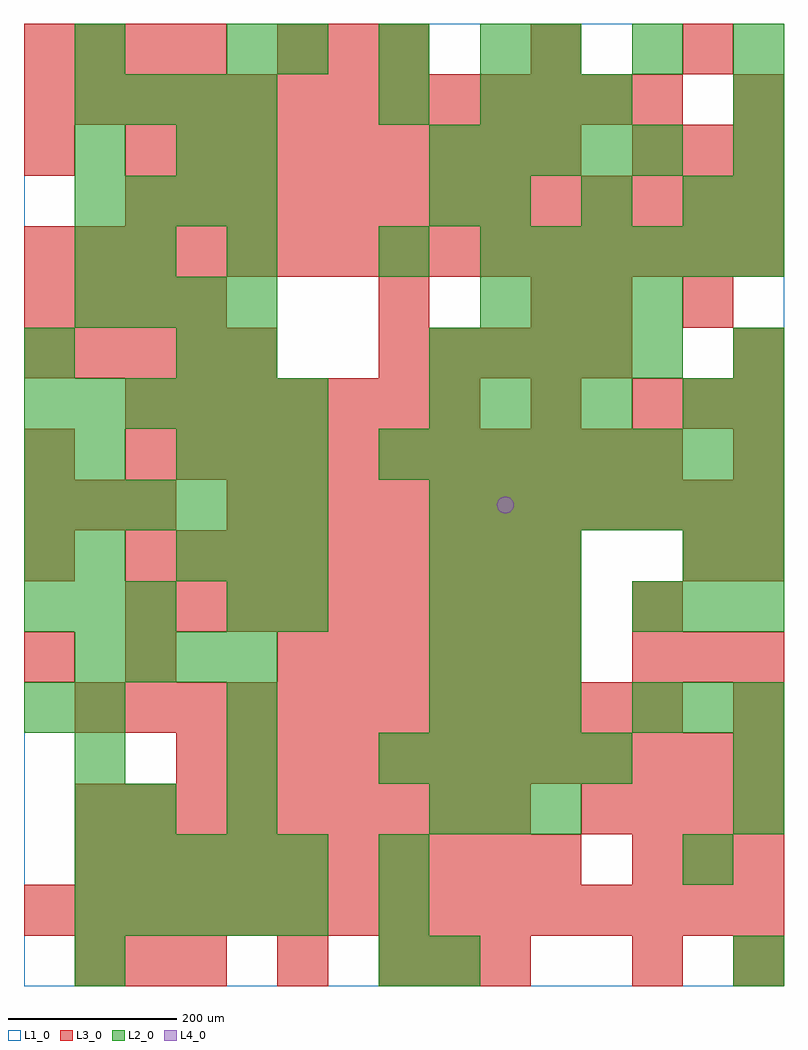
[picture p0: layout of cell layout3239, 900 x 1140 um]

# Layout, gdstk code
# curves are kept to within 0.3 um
import gdstk
lib = gdstk.Library(unit=1e-6, precision=1e-09)
def R(c, l, rs):  # rectangles x0, y0, x1, y1
    for r in rs: c.add(gdstk.rectangle(r[:2], r[2:], *l))
def A(c, l, x, y, w, h, nx, ny, dx, dy):  # array of equal rectangles
    R(c, l, [(x+i*dx, y+j*dy, x+i*dx+w, y+j*dy+h) for i in range(nx) for j in range(ny)])
def P(c, l, *ps):  # polygons
    for p in ps: c.add(gdstk.Polygon(p, *l))
L1_0 = (1, 0)
L2_0 = (2, 0)
L3_0 = (3, 0)
L4_0 = (4, 0)

layout3239 = lib.new_cell('layout3239')
R(layout3239, L1_0, [(0,0,900,1140)])
A(layout3239, L2_0, 420, 0, 60, 60, 1, 3, 0, 60)
A(layout3239, L2_0, 60, 60, 60, 60, 5, 2, 60, 60)
A(layout3239, L2_0, 240, 180, 60, 60, 1, 3, 0, 120)
A(layout3239, L2_0, 480, 180, 60, 60, 3, 2, 60, 120)
A(layout3239, L2_0, 60, 240, 60, 60, 3, 1, 180, 0)
A(layout3239, L2_0, 480, 240, 60, 60, 4, 2, 60, 420)
A(layout3239, L2_0, 720, 300, 60, 60, 3, 2, 60, 120)
A(layout3239, L2_0, 60, 360, 60, 60, 4, 2, 60, 420)
A(layout3239, L2_0, 480, 360, 60, 60, 3, 3, 60, 60)
A(layout3239, L2_0, 0, 420, 60, 60, 3, 1, 60, 0)
A(layout3239, L2_0, 0, 480, 60, 60, 1, 3, 0, 120)
A(layout3239, L2_0, 180, 480, 60, 60, 3, 2, 60, 120)
A(layout3239, L2_0, 0, 540, 60, 60, 6, 2, 60, 120)
A(layout3239, L2_0, 480, 540, 60, 60, 7, 1, 60, 0)
A(layout3239, L2_0, 420, 600, 60, 60, 8, 1, 60, 0)
A(layout3239, L2_0, 240, 720, 60, 60, 1, 4, 0, 120)
A(layout3239, L2_0, 480, 720, 60, 60, 5, 2, 60, 240)
A(layout3239, L2_0, 540, 780, 60, 60, 4, 1, 60, 0)
A(layout3239, L2_0, 60, 840, 60, 60, 1, 3, 0, 120)
A(layout3239, L2_0, 540, 840, 60, 60, 6, 1, 60, 0)
A(layout3239, L2_0, 60, 900, 60, 60, 4, 2, 60, 120)
A(layout3239, L2_0, 540, 900, 60, 60, 3, 1, 120, 0)
A(layout3239, L2_0, 840, 900, 60, 60, 1, 3, 0, 60)
A(layout3239, L2_0, 540, 1020, 60, 60, 3, 1, 60, 0)
A(layout3239, L2_0, 300, 1080, 60, 60, 3, 1, 120, 0)
A(layout3239, L2_0, 600, 1080, 60, 60, 3, 1, 120, 0)
R(layout3239, L2_0, [(60,0,120,60), (480,0,540,60), (840,0,900,60), (780,120,840,180), (60,180,120,240), (120,180,180,240), (840,180,900,240), (840,240,900,300), (0,300,60,360), (60,300,120,360), (300,420,360,480), (60,480,120,540), (780,480,840,540), (840,480,900,540), (60,600,120,660), (780,660,840,720), (840,660,900,720), (180,720,240,780), (840,720,900,780), (120,840,180,900), (420,840,480,900), (480,900,540,960), (180,960,240,1020), (420,1020,480,1080)])
A(layout3239, L3_0, 60, 0, 60, 60, 3, 1, 60, 0)
A(layout3239, L3_0, 420, 0, 60, 60, 3, 1, 60, 0)
A(layout3239, L3_0, 0, 60, 60, 60, 15, 2, 60, 780)
A(layout3239, L3_0, 60, 120, 60, 60, 10, 1, 60, 0)
A(layout3239, L3_0, 720, 120, 60, 60, 3, 2, 60, 240)
A(layout3239, L3_0, 60, 180, 60, 60, 9, 1, 60, 0)
A(layout3239, L3_0, 660, 180, 60, 60, 4, 1, 60, 0)
A(layout3239, L3_0, 180, 240, 60, 60, 12, 1, 60, 0)
A(layout3239, L3_0, 60, 300, 60, 60, 12, 1, 60, 0)
A(layout3239, L3_0, 0, 360, 60, 60, 1, 3, 0, 120)
A(layout3239, L3_0, 300, 360, 60, 60, 6, 1, 60, 0)
A(layout3239, L3_0, 120, 420, 60, 60, 9, 2, 60, 60)
A(layout3239, L3_0, 780, 480, 60, 60, 1, 3, 0, 300)
A(layout3239, L3_0, 840, 480, 60, 60, 1, 3, 0, 120)
A(layout3239, L3_0, 0, 540, 60, 60, 3, 1, 60, 0)
A(layout3239, L3_0, 240, 540, 60, 60, 11, 1, 60, 0)
A(layout3239, L3_0, 120, 600, 60, 60, 11, 1, 60, 0)
A(layout3239, L3_0, 120, 660, 60, 60, 7, 1, 60, 0)
A(layout3239, L3_0, 720, 660, 60, 60, 3, 2, 60, 300)
A(layout3239, L3_0, 0, 720, 60, 60, 5, 1, 60, 0)
A(layout3239, L3_0, 420, 720, 60, 60, 5, 1, 60, 0)
A(layout3239, L3_0, 0, 780, 60, 60, 4, 2, 60, 300)
A(layout3239, L3_0, 120, 900, 60, 60, 13, 1, 60, 0)
A(layout3239, L3_0, 120, 960, 60, 60, 9, 1, 60, 0)
A(layout3239, L3_0, 0, 1020, 60, 60, 13, 1, 60, 0)
A(layout3239, L3_0, 300, 1080, 60, 60, 3, 1, 60, 0)
R(layout3239, L3_0, [(300,0,360,60), (720,0,780,60), (840,0,900,60), (840,300,900,360), (120,360,180,420), (720,420,780,480), (600,660,660,720), (420,780,480,840), (600,780,660,840), (660,780,720,840), (0,960,60,1020), (840,1020,900,1080), (600,1080,660,1140)])
P(layout3239, L4_0, [(580,570),(579.239,573.827),(577.071,577.071),(573.827,579.239),(570,580),(566.173,579.239),(562.929,577.071),(560.761,573.827),(560,570),(560.761,566.173),(562.929,562.929),(566.173,560.761),(570,560),(573.827,560.761),(577.071,562.929),(579.239,566.173)])

lib.write_gds('layout3239.gds')
